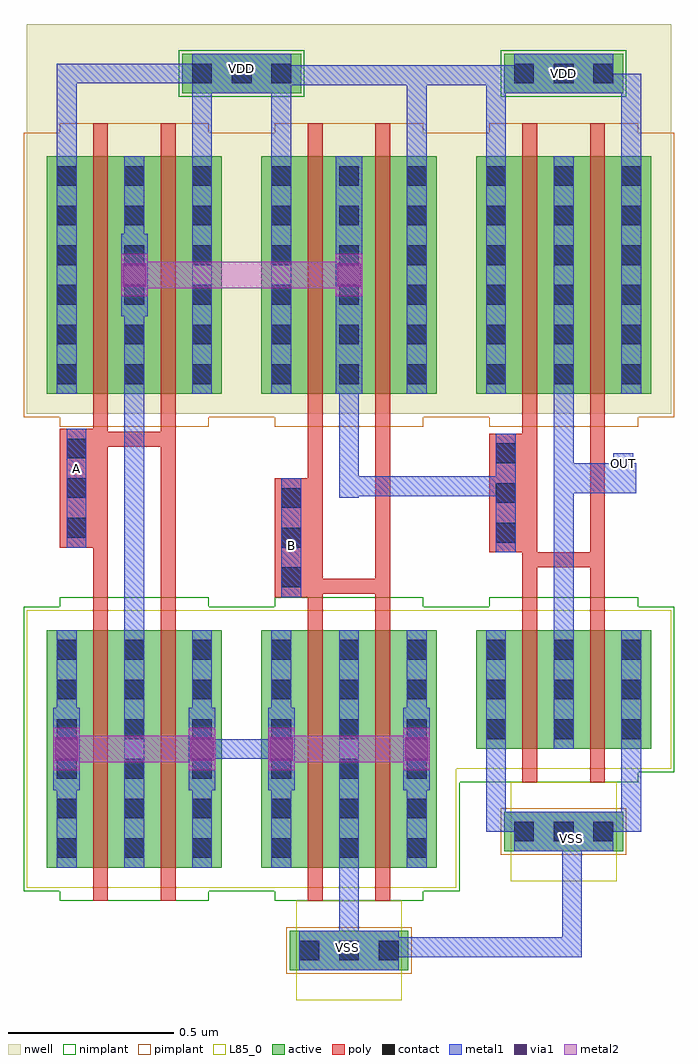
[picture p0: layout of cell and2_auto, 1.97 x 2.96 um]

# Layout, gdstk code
import gdstk
lib = gdstk.Library(unit=1e-6, precision=5e-10)
def R(c, l, rs):  # rectangles x0, y0, x1, y1
    for r in rs: c.add(gdstk.rectangle(r[:2], r[2:], *l))
def A(c, l, x, y, w, h, nx, ny, dx, dy):  # array of equal rectangles
    R(c, l, [(x+i*dx, y+j*dy, x+i*dx+w, y+j*dy+h) for i in range(nx) for j in range(ny)])
active = (1, 0)
nwell = (2, 0)
poly = (3, 0)
nimplant = (4, 0)
pimplant = (5, 0)
contact = (6, 0)
metal1 = (7, 0)
via1 = (8, 0)
metal2 = (9, 0)
L85_0 = (85, 0)

nmos1v_cdns_764819567080 = lib.new_cell('nmos1v_CDNS_764819567080')
R(nmos1v_cdns_764819567080, active, [(-0.14,0,0,0.72), (0,0,0.045,0.72), (0.045,0,0.205,0.72), (0.205,0,0.25,0.72), (0.25,0,0.39,0.72)])
R(nmos1v_cdns_764819567080, poly, [(0,-0.1,0.045,-0.05), (0.205,-0.1,0.25,-0.05), (0,-0.05,0.045,0), (0.205,-0.05,0.25,0), (0,0,0.045,0.72), (0.205,0,0.25,0.72), (0,0.72,0.045,0.77), (0.205,0.72,0.25,0.77), (0,0.77,0.045,0.82), (0.205,0.77,0.25,0.82)])
R(nmos1v_cdns_764819567080, nimplant, [(-0.1,-0.1,0.35,0.82), (-0.21,-0.07,0.46,0.79)])
A(nmos1v_cdns_764819567080, contact, -0.11, 0.03, 0.06, 0.06, 3, 6, 0.205, 0.12)
A(nmos1v_cdns_764819567080, metal1, -0.11, 0, 0.06, 0.72, 3, 1, 0.205, 0)
R(nmos1v_cdns_764819567080, L85_0, [(-0.2,-0.06,0.45,0.78)])
nmos1v_cdns_764819567080.add(gdstk.Label('S_source_2', (0.32,0.36), layer=1, texttype=0))
nmos1v_cdns_764819567080.add(gdstk.Label('S_source_0', (-0.07,0.36), layer=1, texttype=0))
nmos1v_cdns_764819567080.add(gdstk.Label('G_gate_2', (0.2275,-0.075), layer=3, texttype=0))
nmos1v_cdns_764819567080.add(gdstk.Label('G_gate_2', (0.2275,0.795), layer=3, texttype=0))
nmos1v_cdns_764819567080.add(gdstk.Label('G_gate_1', (0.0225,-0.075), layer=3, texttype=0))
nmos1v_cdns_764819567080.add(gdstk.Label('G_gate_1', (0.0225,0.795), layer=3, texttype=0))
nmos1v_cdns_764819567080.add(gdstk.Label('S_source_2', (0.33,0.36), layer=7, texttype=0))
nmos1v_cdns_764819567080.add(gdstk.Label('D_drain_1', (0.125,0.36), layer=7, texttype=0))
nmos1v_cdns_764819567080.add(gdstk.Label('S_source_0', (-0.08,0.36), layer=7, texttype=0))
nmos1v_cdns_764819567080.add(gdstk.Label('B', (0.125,0.36), layer=85, texttype=0))

pmos1v_cdns_764819567081 = lib.new_cell('pmos1v_CDNS_764819567081')
R(pmos1v_cdns_764819567081, active, [(-0.14,0,0,0.72), (0,0,0.045,0.72), (0.045,0,0.205,0.72), (0.205,0,0.25,0.72), (0.25,0,0.39,0.72)])
R(pmos1v_cdns_764819567081, nwell, [(-0.2,-0.06,0.45,0.78)])
R(pmos1v_cdns_764819567081, poly, [(0,-0.1,0.045,-0.05), (0.205,-0.1,0.25,-0.05), (0,-0.05,0.045,0), (0.205,-0.05,0.25,0), (0,0,0.045,0.72), (0.205,0,0.25,0.72), (0,0.72,0.045,0.77), (0.205,0.72,0.25,0.77), (0,0.77,0.045,0.82), (0.205,0.77,0.25,0.82)])
R(pmos1v_cdns_764819567081, pimplant, [(-0.1,-0.1,0.35,0.82), (-0.21,-0.07,0.46,0.79)])
A(pmos1v_cdns_764819567081, contact, -0.11, 0.03, 0.06, 0.06, 3, 6, 0.205, 0.12)
A(pmos1v_cdns_764819567081, metal1, -0.11, 0, 0.06, 0.72, 3, 1, 0.205, 0)
pmos1v_cdns_764819567081.add(gdstk.Label('S_source_2', (0.32,0.36), layer=1, texttype=0))
pmos1v_cdns_764819567081.add(gdstk.Label('S_source_0', (-0.07,0.36), layer=1, texttype=0))
pmos1v_cdns_764819567081.add(gdstk.Label('G_gate_2', (0.2275,-0.075), layer=3, texttype=0))
pmos1v_cdns_764819567081.add(gdstk.Label('G_gate_2', (0.2275,0.795), layer=3, texttype=0))
pmos1v_cdns_764819567081.add(gdstk.Label('G_gate_1', (0.0225,-0.075), layer=3, texttype=0))
pmos1v_cdns_764819567081.add(gdstk.Label('G_gate_1', (0.0225,0.795), layer=3, texttype=0))
pmos1v_cdns_764819567081.add(gdstk.Label('S_source_2', (0.33,0.36), layer=7, texttype=0))
pmos1v_cdns_764819567081.add(gdstk.Label('D_drain_1', (0.125,0.36), layer=7, texttype=0))
pmos1v_cdns_764819567081.add(gdstk.Label('S_source_0', (-0.08,0.36), layer=7, texttype=0))
pmos1v_cdns_764819567081.add(gdstk.Label('B', (0.125,0.36), layer=2, texttype=0))

m1_nwell_cdns_7648195670 = lib.new_cell('M1_NWELL_CDNS_764819567080')
R(m1_nwell_cdns_7648195670, active, [(-0.18,-0.06,0.18,0.06)])
R(m1_nwell_cdns_7648195670, nwell, [(-0.21,-0.15,0.21,0.15)])
R(m1_nwell_cdns_7648195670, nimplant, [(-0.19,-0.07,0.19,0.07)])
A(m1_nwell_cdns_7648195670, contact, -0.15, -0.03, 0.06, 0.06, 3, 1, 0.12, 0)
R(m1_nwell_cdns_7648195670, metal1, [(-0.15,-0.06,0.15,0.06)])

m2_m1_cdns_764819567081 = lib.new_cell('M2_M1_CDNS_764819567081')
R(m2_m1_cdns_764819567081, metal1, [(-0.04,-0.125,0.04,0.125)])
R(m2_m1_cdns_764819567081, via1, [(-0.035,-0.035,0.035,0.035)])
R(m2_m1_cdns_764819567081, metal2, [(-0.04,-0.065,0.04,0.065)])

m1_psub_cdns_76481956708 = lib.new_cell('M1_PSUB_CDNS_764819567082')
R(m1_psub_cdns_76481956708, active, [(-0.18,-0.06,0.18,0.06)])
R(m1_psub_cdns_76481956708, pimplant, [(-0.19,-0.07,0.19,0.07)])
A(m1_psub_cdns_76481956708, contact, -0.15, -0.03, 0.06, 0.06, 3, 1, 0.12, 0)
R(m1_psub_cdns_76481956708, metal1, [(-0.15,-0.06,0.15,0.06)])
R(m1_psub_cdns_76481956708, L85_0, [(-0.16,-0.15,0.16,0.15)])

m1_po_cdns_764819567083 = lib.new_cell('M1_PO_CDNS_764819567083')
R(m1_po_cdns_764819567083, poly, [(-0.05,-0.18,0.05,0.18)])
A(m1_po_cdns_764819567083, contact, -0.03, -0.15, 0.06, 0.06, 1, 3, 0, 0.12)
R(m1_po_cdns_764819567083, metal1, [(-0.03,-0.18,0.03,0.18)])

nand2 = lib.new_cell('nand2')
R(nand2, nwell, [(-0.005,0.85,1.295,1.19)])
R(nand2, metal1, [(0.945,-1.645,1.005,-1.585), (0.765,-0.5,0.825,-0.44), (0.94,-0.24,1,-0.18), (0.115,-0.19,0.175,-0.13), (0.605,1.025,0.665,1.085)])
nand2.add(gdstk.FlexPath([(0.97,0.43),(0.32,0.43)], 0.08, ends="extended", simple_path=True, layer=9, datatype=0))  # metal2
nand2.add(gdstk.FlexPath([(1.175,-1.005),(0.765,-1.005)], 0.08, ends="extended", simple_path=True, layer=9, datatype=0))  # metal2
nand2.add(gdstk.FlexPath([(0.115,-1.005),(0.525,-1.005)], 0.08, ends="extended", simple_path=True, layer=9, datatype=0))  # metal2
nand2.add(gdstk.FlexPath([(0.4225,-0.03),(0.4225,-0.0675)], 0.045, ends=(0, 0.0225), simple_path=True, layer=3, datatype=0))  # poly
nand2.add(gdstk.FlexPath([(0.4225,-0.0675),(0.4225,-0.545)], 0.045, ends=(0.0225, 0), simple_path=True, layer=3, datatype=0))  # poly
nand2.add(gdstk.FlexPath([(0.2175,-0.0675),(0.2175,-0.545)], 0.045, ends=(0.0225, 0), simple_path=True, layer=3, datatype=0))  # poly
nand2.add(gdstk.FlexPath([(0.8675,-0.5125),(1.0725,-0.5125)], 0.045, ends="extended", simple_path=True, layer=3, datatype=0))  # poly
nand2.add(gdstk.FlexPath([(1.0725,-0.5125),(1.0725,-0.545)], 0.045, ends=(0.0225, 0), simple_path=True, layer=3, datatype=0))  # poly
nand2.add(gdstk.FlexPath([(1.0725,-0.03),(1.0725,-0.5125)], 0.045, ends=(0, 0.0225), simple_path=True, layer=3, datatype=0))  # poly
nand2.add(gdstk.FlexPath([(0.8675,-0.5125),(0.8675,-0.545)], 0.045, ends=(0.0225, 0), simple_path=True, layer=3, datatype=0))  # poly
nand2.add(gdstk.FlexPath([(0.8675,-0.03),(0.8675,-0.5125)], 0.045, ends=(0, 0.0225), simple_path=True, layer=3, datatype=0))  # poly
nand2.add(gdstk.FlexPath([(0.2175,-0.03),(0.2175,-0.0675)], 0.045, ends=(0, 0.0225), simple_path=True, layer=3, datatype=0))  # poly
nand2.add(gdstk.FlexPath([(0.2175,-0.0675),(0.4225,-0.0675)], 0.045, ends="extended", simple_path=True, layer=3, datatype=0))  # poly
nand2.add(gdstk.FlexPath([(0.97,-1.365),(0.97,-1.585)], 0.06, ends="flush", simple_path=True, layer=7, datatype=0))  # metal1
nand2.add(gdstk.FlexPath([(0.97,0.07),(0.97,-0.245)], 0.06, ends="flush", simple_path=True, layer=7, datatype=0))  # metal1
nand2.add(gdstk.FlexPath([(0.795,-0.365),(0.795,-0.47)], 0.06, ends="extended", simple_path=True, layer=7, datatype=0))  # metal1
nand2.add(gdstk.FlexPath([(0.97,0.1),(0.97,0.79)], 0.08, ends=(0.03, 0), simple_path=True, layer=7, datatype=0))  # metal1
nand2.add(gdstk.FlexPath([(0.765,0.79),(0.765,1.035)], 0.06, ends=(0, 0.03), simple_path=True, layer=7, datatype=0))  # metal1
nand2.add(gdstk.FlexPath([(0.645,1.04),(0.525,1.04)], 0.06, ends="extended", simple_path=True, layer=7, datatype=0))  # metal1
nand2.add(gdstk.FlexPath([(0.115,0.79),(0.115,1.04)], 0.06, ends=(0, 0.03), simple_path=True, layer=7, datatype=0))  # metal1
nand2.add(gdstk.FlexPath([(0.32,0.76),(0.32,-1.335)], 0.06, ends="extended", simple_path=True, layer=7, datatype=0))  # metal1
nand2.add(gdstk.FlexPath([(0.115,1.04),(0.525,1.04)], 0.06, ends="extended", simple_path=True, layer=7, datatype=0))  # metal1
nand2.add(gdstk.FlexPath([(0.765,1.035),(0.645,1.035)], 0.06, ends="extended", simple_path=True, layer=7, datatype=0))  # metal1
nand2.add(gdstk.FlexPath([(1.175,0.79),(1.175,1.035)], 0.06, ends=(0, 0.03), simple_path=True, layer=7, datatype=0))  # metal1
nand2.add(gdstk.FlexPath([(1.175,1.035),(0.765,1.035)], 0.06, ends="extended", simple_path=True, layer=7, datatype=0))  # metal1
nand2.add(gdstk.FlexPath([(0.645,1.035),(0.645,1.04)], 0.06, ends=(0.03, 0), simple_path=True, layer=7, datatype=0))  # metal1
nand2.add(gdstk.FlexPath([(0.145,-0.16),(0.145,-0.215)], 0.06, ends="extended", simple_path=True, layer=7, datatype=0))  # metal1
nand2.add(gdstk.FlexPath([(0.525,0.79),(0.525,1.04)], 0.06, ends=(0, 0.03), simple_path=True, layer=7, datatype=0))  # metal1
nand2.add(gdstk.FlexPath([(0.765,-1.005),(0.525,-1.005)], 0.06, ends="extended", simple_path=True, layer=7, datatype=0))  # metal1
nand2.add(gdstk.Reference(nmos1v_cdns_764819567080, (0.845,-1.365)))
nand2.add(gdstk.Reference(nmos1v_cdns_764819567080, (0.195,-1.365)))
nand2.add(gdstk.Reference(pmos1v_cdns_764819567081, (0.195,0.07)))
nand2.add(gdstk.Reference(pmos1v_cdns_764819567081, (0.845,0.07)))
nand2.add(gdstk.Reference(m1_nwell_cdns_7648195670, (0.645,1.04)))
nand2.add(gdstk.Reference(m2_m1_cdns_764819567081, (1.175,-1.005)))
nand2.add(gdstk.Reference(m2_m1_cdns_764819567081, (0.765,-1.005)))
nand2.add(gdstk.Reference(m2_m1_cdns_764819567081, (0.525,-1.005)))
nand2.add(gdstk.Reference(m2_m1_cdns_764819567081, (0.97,0.43)))
nand2.add(gdstk.Reference(m2_m1_cdns_764819567081, (0.115,-1.005)))
nand2.add(gdstk.Reference(m2_m1_cdns_764819567081, (0.32,0.43)))
nand2.add(gdstk.Reference(m1_psub_cdns_76481956708, (0.97,-1.615)))
nand2.add(gdstk.Reference(m1_po_cdns_764819567083, (0.795,-0.365)))
nand2.add(gdstk.Reference(m1_po_cdns_764819567083, (0.145,-0.215)))
nand2.add(gdstk.Label('VSS', (0.975,-1.615), layer=63, texttype=0))
nand2.add(gdstk.Label('OUT', (0.97,-0.21), layer=63, texttype=0))
nand2.add(gdstk.Label('B', (0.795,-0.47), layer=63, texttype=0))
nand2.add(gdstk.Label('A', (0.145,-0.16), layer=63, texttype=0))
nand2.add(gdstk.Label('VDD', (0.635,1.055), layer=63, texttype=0))
nand2.add(gdstk.Label('VSS', (0.975,-1.615), layer=7, texttype=0))
nand2.add(gdstk.Label('OUT', (0.97,-0.21), layer=7, texttype=0))
nand2.add(gdstk.Label('B', (0.795,-0.47), layer=7, texttype=0))
nand2.add(gdstk.Label('A', (0.145,-0.16), layer=7, texttype=0))
nand2.add(gdstk.Label('VDD', (0.635,1.055), layer=7, texttype=0))

nmos1v_cdns_764819567082 = lib.new_cell('nmos1v_CDNS_764819567082')
R(nmos1v_cdns_764819567082, active, [(-0.14,0,0,0.36), (0,0,0.045,0.36), (0.045,0,0.205,0.36), (0.205,0,0.25,0.36), (0.25,0,0.39,0.36)])
R(nmos1v_cdns_764819567082, poly, [(0,-0.1,0.045,-0.05), (0.205,-0.1,0.25,-0.05), (0,-0.05,0.045,0), (0.205,-0.05,0.25,0), (0,0,0.045,0.36), (0.205,0,0.25,0.36), (0,0.36,0.045,0.41), (0.205,0.36,0.25,0.41), (0,0.41,0.045,0.46), (0.205,0.41,0.25,0.46)])
R(nmos1v_cdns_764819567082, nimplant, [(-0.1,-0.1,0.35,0.46), (-0.21,-0.07,0.46,0.43)])
A(nmos1v_cdns_764819567082, contact, -0.11, 0.03, 0.06, 0.06, 3, 3, 0.205, 0.12)
A(nmos1v_cdns_764819567082, metal1, -0.11, 0, 0.06, 0.36, 3, 1, 0.205, 0)
R(nmos1v_cdns_764819567082, L85_0, [(-0.2,-0.06,0.45,0.42)])
nmos1v_cdns_764819567082.add(gdstk.Label('S_source_2', (0.32,0.18), layer=1, texttype=0))
nmos1v_cdns_764819567082.add(gdstk.Label('S_source_0', (-0.07,0.18), layer=1, texttype=0))
nmos1v_cdns_764819567082.add(gdstk.Label('G_gate_2', (0.2275,-0.075), layer=3, texttype=0))
nmos1v_cdns_764819567082.add(gdstk.Label('G_gate_2', (0.2275,0.435), layer=3, texttype=0))
nmos1v_cdns_764819567082.add(gdstk.Label('G_gate_1', (0.0225,-0.075), layer=3, texttype=0))
nmos1v_cdns_764819567082.add(gdstk.Label('G_gate_1', (0.0225,0.435), layer=3, texttype=0))
nmos1v_cdns_764819567082.add(gdstk.Label('S_source_2', (0.33,0.18), layer=7, texttype=0))
nmos1v_cdns_764819567082.add(gdstk.Label('D_drain_1', (0.125,0.18), layer=7, texttype=0))
nmos1v_cdns_764819567082.add(gdstk.Label('S_source_0', (-0.08,0.18), layer=7, texttype=0))
nmos1v_cdns_764819567082.add(gdstk.Label('B', (0.125,0.18), layer=85, texttype=0))

inv = lib.new_cell('inv')
R(inv, nwell, [(-0.23,1.095,0.42,1.435)])
R(inv, metal1, [(0.065,-1.04,0.125,-0.98), (-0.11,-0.03,-0.05,0.03), (0.255,0.015,0.315,0.075), (0.04,1.225,0.1,1.285)])
inv.add(gdstk.FlexPath([(0.3,1.255),(0.3,1.035)], 0.06, ends=(0.03, 0), simple_path=True, layer=7, datatype=0))  # metal1
inv.add(gdstk.FlexPath([(-0.11,1.255),(-0.11,1.035)], 0.06, ends=(0.03, 0), simple_path=True, layer=7, datatype=0))  # metal1
inv.add(gdstk.FlexPath([(-0.11,1.255),(0.3,1.255)], 0.06, ends="extended", simple_path=True, layer=7, datatype=0))  # metal1
inv.add(gdstk.FlexPath([(0.095,0.045),(0.285,0.045)], 0.06, ends="extended", simple_path=True, layer=7, datatype=0))  # metal1
inv.add(gdstk.FlexPath([(0.095,-0.73),(0.095,0.045)], 0.06, ends="extended", simple_path=True, layer=7, datatype=0))  # metal1
inv.add(gdstk.FlexPath([(0.285,0.075),(0.095,0.075)], 0.06, ends="extended", simple_path=True, layer=7, datatype=0))  # metal1
inv.add(gdstk.FlexPath([(0.285,0.045),(0.285,0.075)], 0.06, ends="extended", simple_path=True, layer=7, datatype=0))  # metal1
inv.add(gdstk.FlexPath([(0.095,0.075),(0.095,1.005)], 0.06, ends="extended", simple_path=True, layer=7, datatype=0))  # metal1
inv.add(gdstk.FlexPath([(0.3,-0.98),(-0.11,-0.98)], 0.06, ends="extended", simple_path=True, layer=7, datatype=0))  # metal1
inv.add(gdstk.FlexPath([(0.3,-0.76),(0.3,-0.98)], 0.06, ends=(0, 0.03), simple_path=True, layer=7, datatype=0))  # metal1
inv.add(gdstk.FlexPath([(-0.11,-0.76),(-0.11,-0.98)], 0.06, ends=(0, 0.03), simple_path=True, layer=7, datatype=0))  # metal1
inv.add(gdstk.FlexPath([(-0.0075,-0.1875),(-0.0075,-0.3)], 0.045, ends=(0.0225, 0), simple_path=True, layer=3, datatype=0))  # poly
inv.add(gdstk.FlexPath([(-0.0075,0.215),(-0.0075,-0.1875)], 0.045, ends=(0, 0.0225), simple_path=True, layer=3, datatype=0))  # poly
inv.add(gdstk.FlexPath([(0.1975,0.215),(0.1975,-0.1875)], 0.045, ends=(0, 0.0225), simple_path=True, layer=3, datatype=0))  # poly
inv.add(gdstk.FlexPath([(-0.0075,-0.1875),(0.1975,-0.1875)], 0.045, ends="extended", simple_path=True, layer=3, datatype=0))  # poly
inv.add(gdstk.FlexPath([(0.1975,-0.1875),(0.1975,-0.3)], 0.045, ends=(0.0225, 0), simple_path=True, layer=3, datatype=0))  # poly
inv.add(gdstk.Reference(pmos1v_cdns_764819567081, (-0.03,0.315)))
inv.add(gdstk.Reference(nmos1v_cdns_764819567082, (-0.03,-0.76)))
inv.add(gdstk.Reference(m1_nwell_cdns_7648195670, (0.095,1.285)))
inv.add(gdstk.Reference(m1_po_cdns_764819567083, (-0.08,0.015)))
inv.add(gdstk.Reference(m1_psub_cdns_76481956708, (0.095,-1.01)))
inv.add(gdstk.Label('OUT', (0.285,0.045), layer=7, texttype=0))
inv.add(gdstk.Label('VSS', (0.095,-1.01), layer=7, texttype=0))
inv.add(gdstk.Label('VDD', (0.07,1.255), layer=7, texttype=0))
inv.add(gdstk.Label('IN', (-0.08,0), layer=7, texttype=0))
inv.add(gdstk.Label('OUT', (0.285,0.045), layer=63, texttype=0))
inv.add(gdstk.Label('VSS', (0.095,-1.01), layer=63, texttype=0))
inv.add(gdstk.Label('VDD', (0.07,1.255), layer=63, texttype=0))
inv.add(gdstk.Label('IN', (-0.08,0), layer=63, texttype=0))

and2_auto = lib.new_cell('and2_auto')
R(and2_auto, nimplant, [(2.41,2.245,2.5,2.275)])
R(and2_auto, metal1, [(2.04,1.715,2.1,1.775), (2.72,2.045,2.78,2.105), (1.87,2.93,1.93,2.99), (1.22,3.165,1.28,3.225), (2.875,3.18,2.935,3.24), (2.695,4.36,2.755,4.42), (1.72,4.375,1.78,4.435)])
and2_auto.add(gdstk.FlexPath([(2.75,1.745),(2.75,2.105)], 0.06, ends=(0.03, 0), simple_path=True, layer=7, datatype=0))  # metal1
and2_auto.add(gdstk.FlexPath([(2.1,1.745),(2.75,1.745)], 0.06, ends=(0, 0.03), simple_path=True, layer=7, datatype=0))  # metal1
and2_auto.add(gdstk.FlexPath([(2.28,4.385),(2.73,4.385)], 0.06, ends="flush", simple_path=True, layer=7, datatype=0))  # metal1
and2_auto.add(gdstk.FlexPath([(2.55,3.14),(2.55,3.135)], 0.06, ends=(0.03, 0), simple_path=True, layer=7, datatype=0))  # metal1
and2_auto.add(gdstk.FlexPath([(2.075,3.14),(2.55,3.14)], 0.06, ends=(0, 0.03), simple_path=True, layer=7, datatype=0))  # metal1
and2_auto.add(gdstk.FlexPath([(1.9,2.96),(1.9,2.88)], 0.06, ends="extended", simple_path=True, layer=7, datatype=0))  # metal1
and2_auto.add(gdstk.Reference(nand2, (1.105,3.35)))
and2_auto.add(gdstk.Reference(inv, (2.63,3.105)))
and2_auto.add(gdstk.Label('VDD', (1.75,4.405), layer=63, texttype=0))
and2_auto.add(gdstk.Label('VSS', (2.07,1.745), layer=63, texttype=0))
and2_auto.add(gdstk.Label('OUT', (2.905,3.21), layer=63, texttype=0))
and2_auto.add(gdstk.Label('B', (1.9,2.96), layer=63, texttype=0))
and2_auto.add(gdstk.Label('A', (1.25,3.195), layer=63, texttype=0))
and2_auto.add(gdstk.Label('VSS', (2.75,2.075), layer=63, texttype=0))
and2_auto.add(gdstk.Label('VDD', (2.725,4.39), layer=63, texttype=0))
and2_auto.add(gdstk.Label('VDD', (1.75,4.405), layer=7, texttype=0))
and2_auto.add(gdstk.Label('VSS', (2.07,1.745), layer=7, texttype=0))
and2_auto.add(gdstk.Label('OUT', (2.905,3.21), layer=7, texttype=0))
and2_auto.add(gdstk.Label('B', (1.9,2.96), layer=7, texttype=0))
and2_auto.add(gdstk.Label('A', (1.25,3.195), layer=7, texttype=0))
and2_auto.add(gdstk.Label('VSS', (2.75,2.075), layer=7, texttype=0))
and2_auto.add(gdstk.Label('VDD', (2.725,4.39), layer=7, texttype=0))

lib.write_gds('and2_auto.gds')
